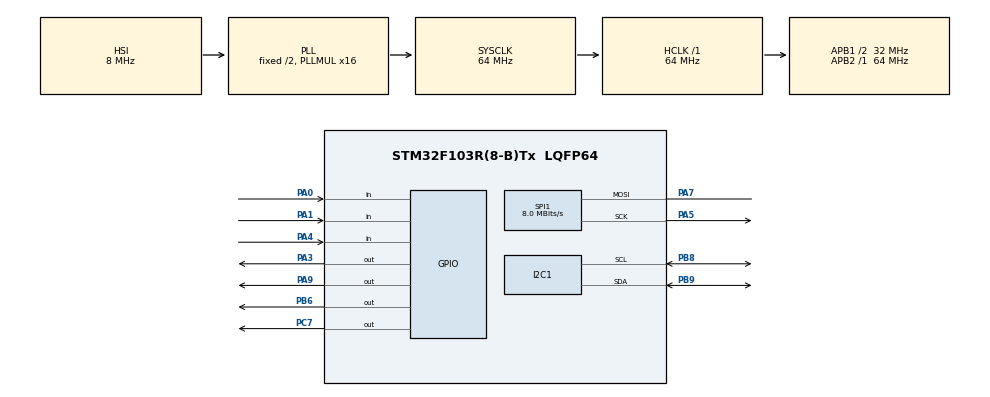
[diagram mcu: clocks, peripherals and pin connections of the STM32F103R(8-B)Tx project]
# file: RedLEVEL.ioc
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Mcu.Family=STM32F1
Mcu.Name=STM32F103R(8-B)Tx
Mcu.Package=LQFP64
NVIC.PriorityGroup=NVIC_PRIORITYGROUP_4
PA0-WKUP.Signal=GPIO_Input
PA1.Signal=GPIO_Input
PA13.Mode=Serial_Wire
PA13.Signal=SYS_JTMS-SWDIO
PA14.Mode=Serial_Wire
PA14.Signal=SYS_JTCK-SWCLK
PA3.Signal=GPIO_Output
PA4.Signal=GPIO_Input
PA5.Mode=Simplex_Bidirectional_Master
PA5.Signal=SPI1_SCK
PA7.Mode=Simplex_Bidirectional_Master
PA7.Signal=SPI1_MOSI
PA9.Signal=GPIO_Output
PB6.Signal=GPIO_Output
PB8.Mode=I2C
PB8.Signal=I2C1_SCL
PB9.Mode=I2C
PB9.Signal=I2C1_SDA
PC7.Signal=GPIO_Output
PD0-OSC_IN.Mode=HSE-External-Oscillator
PD0-OSC_IN.Signal=RCC_OSC_IN
PD1-OSC_OUT.Mode=HSE-External-Oscillator
PD1-OSC_OUT.Signal=RCC_OSC_OUT
ProjectManager.HeapSize=0x200
ProjectManager.StackSize=0x400
ProjectManager.TargetToolchain=STM32CubeIDE
RCC.AHBFreq_Value=64000000
RCC.APB1CLKDivider=RCC_HCLK_DIV2
RCC.APB1Freq_Value=32000000
RCC.APB1TimFreq_Value=64000000
RCC.APB2Freq_Value=64000000
RCC.APB2TimFreq_Value=64000000
RCC.HCLKFreq_Value=64000000
RCC.PLLMUL=RCC_PLL_MUL16
RCC.RTCClockSelection=RCC_RTCCLKSOURCE_LSE
RCC.SYSCLKFreq_VALUE=64000000
RCC.SYSCLKSource=RCC_SYSCLKSOURCE_PLLCLK
RCC.USBFreq_Value=64000000
SPI1.BaudRatePrescaler=SPI_BAUDRATEPRESCALER_8
SPI1.CalculateBaudRate=8.0 MBits/s
SPI1.Direction=SPI_DIRECTION_1LINE
SPI1.Mode=SPI_MODE_MASTER
SPI1.VirtualType=VM_MASTER
board=NUCLEO-F103RB

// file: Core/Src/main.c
/* USER CODE BEGIN Header */
/**
  ******************************************************************************
  * @file           : main.c
  * @brief          : Main program body
  ******************************************************************************
  * @attention
  *
  * Copyright (c) 2025 STMicroelectronics.
  * All rights reserved.
  *
  * This software is licensed under terms that can be found in the LICENSE file
  * in the root directory of this software component.
  * If no LICENSE file comes with this software, it is provided AS-IS.
  *
  ******************************************************************************
  */
/* USER CODE END Header */
#include "main.h"

/* USER CODE BEGIN Includes */
#include "ST7735.h"
#include "GFX_FUNCTIONS.h"
#include <stdio.h>
#include <math.h>

#ifndef M_PI
#define M_PI 3.14159265358979323846
#endif

/* USER CODE END Includes */

/* USER CODE BEGIN PTD */

// Struktur für die Winkel
typedef struct {
    float roll;
    float pitch;
} TiltAngles;

typedef enum {
    STATE_MENU,
    STATE_DISPLAY,
    STATE_LIMIT,
    STATE_CALIB
} SystemState;

typedef struct {
    GPIO_TypeDef* port;
    uint16_t pin;
    uint8_t pressed_last;
} Button_t;

SystemState currentState = STATE_MENU;
int menu_index = 0;
const char* menu_items[3] = {"Anzeige", "Grenzwert", "Kalibrierung"};

/* USER CODE END PTD */

/* USER CODE BEGIN PD */

// MPU6500 Adresse (AD0 = GND)
#define MPU6500_ADDR (0x68 << 1)

#define ACCEL_XOUT_H 0x3B
#define PWR_MGMT_1   0x6B

#define BTN_UP_PIN    GPIO_PIN_0
#define BTN_DOWN_PIN  GPIO_PIN_1
#define BTN_ENTER_PIN GPIO_PIN_4
#define LED_WARN GPIO_PIN_3
#define BTN_GPIO      GPIOA

#define Y_TITLE    0
#define Y_MODE     25
#define Y_ROLL     45
#define Y_LIMIT    60
#define Y_INFO     75
#define Y_WARN     90

#define Y_LINE 130       // vertikale Basislinie
#define LINE_WIDTH 20    // halbe Breite der Linie
#define LINE_THICKNESS 4   // Dicke der Linie

/* USER CODE END PD */

I2C_HandleTypeDef hi2c1;

SPI_HandleTypeDef hspi1;

void SystemClock_Config(void);
static void MX_GPIO_Init(void);
static void MX_SPI1_Init(void);
static void MX_I2C1_Init(void);

/* USER CODE BEGIN 0 */

//Change menu

int limit_value = 30;
int calibration_offset = 0;

int last_roll_reset_flag = 0; // globale Definition

static int last_x0 = 0, last_y0 = 0, last_x1 = 0, last_y1 = 0;

// --- Button lesen mit Entprellung ---
uint8_t readButton(GPIO_TypeDef* port, uint16_t pin)
{
    static uint32_t last_press_time[16] = {0};
    static uint8_t initialized = 0;
    if(!initialized)
    {
        for(int i=0;i<16;i++) last_press_time[i] = HAL_GetTick();
        initialized = 1;
    }

    uint8_t pin_num = 0;
    uint16_t temp_pin = pin;
    while(temp_pin > 1) { temp_pin >>= 1; pin_num++; }

    if(HAL_GPIO_ReadPin(port, pin) == GPIO_PIN_RESET) // gedrückt = LOW
    {
        if(HAL_GetTick() - last_press_time[pin_num] > 250)
        {
            last_press_time[pin_num] = HAL_GetTick();
            return 1;
        }
    }
    return 0;
}

// --- Button-Abfrage mit Entprellung ---
uint8_t buttonPressed(GPIO_TypeDef* port, uint16_t pin)
{
    static uint32_t last_press[16] = {0};
    static uint8_t initialized = 0;
    if(!initialized)
    {
        for(int i=0;i<16;i++) last_press[i]=HAL_GetTick();
        initialized=1;
    }

    uint8_t pin_index=0;
    uint16_t temp=pin;
    while(temp>1){ temp>>=1; pin_index++; }

    if(HAL_GPIO_ReadPin(port,pin)==GPIO_PIN_RESET)
    {
        if(HAL_GetTick()-last_press[pin_index]>200)
        {
            last_press[pin_index]=HAL_GetTick();
            return 1;
        }
    }
    return 0;
}

/* MPU Funktionen */

void MPU6500_Init(void)
{
    uint8_t data = 0x00;
    HAL_I2C_Mem_Write(&hi2c1, MPU6500_ADDR, PWR_MGMT_1, 1, &data, 1, HAL_MAX_DELAY);
}

void MPU6500_Read_Accel(int16_t *ax, int16_t *ay, int16_t *az)
{
    uint8_t rawData[6];
    HAL_I2C_Mem_Read(&hi2c1, MPU6500_ADDR, ACCEL_XOUT_H, 1, rawData, 6, HAL_MAX_DELAY);
    *ax = (int16_t)(rawData[0] << 8 | rawData[1]);
    *ay = (int16_t)(rawData[2] << 8 | rawData[3]);
    *az = (int16_t)(rawData[4] << 8 | rawData[5]);
}

float CalculateRoll(int16_t ax, int16_t ay, int16_t az)
{
    float ax_f = ax / 16384.0f;
    float ay_f = ay / 16384.0f;
    float az_f = az / 16384.0f;
    return atan2f(ay_f, sqrtf(ax_f*ax_f + az_f*az_f)) * 180.0f / M_PI;
}

// --- Menüanzeige ---
void displayMenu(int selected)
{
    fillRect(0,20,128,100,BLACK);
    for(int i=0;i<3;i++)
    {
        if(i==selected)
            ST7735_WriteString(10,30+i*20,menu_items[i],Font_7x10,WHITE,YELLOW);
        else
            ST7735_WriteString(10,30+i*20,menu_items[i],Font_7x10,YELLOW,BLACK);
    }
}

void UpdateDisplay(SystemState state)
{
    char buf[32];

    // kompletter Screen wird nur hier gelöscht (also beim State-Wechsel)
    fillScreen(BLACK);

    // Titel
    ST7735_WriteString(25, Y_TITLE, "RedLEVEL", Font_7x10, RED, BLACK);
    ST7735_WriteString(0, 15, "----------------------", Font_7x10, DARK_GRAY, BLACK);

    switch(state)
    {
        case STATE_MENU:
            ST7735_WriteString(0, 25, "Modus: Hauptmenue", Font_7x10, YELLOW, BLACK);
            displayMenu(menu_index);
            break;

        case STATE_DISPLAY:
            ST7735_WriteString(0, Y_MODE, "Modus: Anzeige", Font_7x10, YELLOW, BLACK);

            fillRect(0, Y_LIMIT, 110, 12, BLACK);
            snprintf(buf, sizeof(buf), "Grenze: %d", limit_value);
            ST7735_WriteString(0, Y_LIMIT, buf, Font_7x10, YELLOW, BLACK);

            ST7735_WriteString(0, Y_INFO, "Enter = Zurueck", Font_7x10, DARK_GRAY, BLACK);
            // Roll / Grenze / Warnung macht die while(1)-Schleife
            break;

        case STATE_LIMIT:
            ST7735_WriteString(0, 25, "Modus: Grenzwert", Font_7x10, YELLOW, BLACK);
            snprintf(buf, sizeof(buf), "Grenzwert: %d Grad", limit_value);
            ST7735_WriteString(0, 45, buf, Font_7x10, WHITE, BLACK);
            ST7735_WriteString(0, 65, "Up/Down = Wert", Font_7x10, WHITE, BLACK);
            ST7735_WriteString(0, 80, "Enter = Zurueck", Font_7x10, WHITE, BLACK);
            break;

        case STATE_CALIB:
            ST7735_WriteString(0, 25, "Modus: Kalibrieren", Font_7x10, YELLOW, BLACK);
            snprintf(buf, sizeof(buf), "Offset: %d Grad", calibration_offset);
            ST7735_WriteString(0, 45, buf, Font_7x10, WHITE, BLACK);
            ST7735_WriteString(0, 65, "Up/Down = Offset", Font_7x10, WHITE, BLACK);
            ST7735_WriteString(0, 80, "Enter = Zurueck", Font_7x10, WHITE, BLACK);
            break;
    }
}

void drawMenuItem(int index, uint8_t selected)
{
    uint16_t y = 30 + index * 20;

    if (selected)
        ST7735_WriteString(10, y, menu_items[index], Font_7x10, WHITE, YELLOW);
    else
        ST7735_WriteString(10, y, menu_items[index], Font_7x10, YELLOW, BLACK);
}

/* USER CODE END 0 */

int main(void)
{

  /* MCU Configuration--------------------------------------------------------*/

  /* Reset of all peripherals, Initializes the Flash interface and the Systick. */
  HAL_Init();

  /* Configure the system clock */
  SystemClock_Config();

  /* Initialize all configured peripherals */
  MX_GPIO_Init();
  MX_SPI1_Init();
  MX_I2C1_Init();
  /* USER CODE BEGIN 2 */

  // GPIO für Taster, interne Pull-ups aktiviert (Taster gegen GND)
     __HAL_RCC_GPIOA_CLK_ENABLE();
     GPIO_InitTypeDef GPIO_InitStruct = {0};
     GPIO_InitStruct.Pin = BTN_UP_PIN | BTN_DOWN_PIN | BTN_ENTER_PIN;
     GPIO_InitStruct.Mode = GPIO_MODE_INPUT;
     GPIO_InitStruct.Pull = GPIO_PULLUP;
     HAL_GPIO_Init(BTN_GPIO, &GPIO_InitStruct);

     ST7735_Init(0);
       fillScreen(BLACK);
       MPU6500_Init();
       UpdateDisplay(currentState);

  /* USER CODE END 2 */

  /* Infinite loop */
  /* USER CODE BEGIN WHILE */
  while (1)
  {

	  uint8_t up = buttonPressed(BTN_GPIO, BTN_UP_PIN);
	        uint8_t down = buttonPressed(BTN_GPIO, BTN_DOWN_PIN);
	        uint8_t enter = buttonPressed(BTN_GPIO, BTN_ENTER_PIN);

	        switch(currentState)
	        {
	            case STATE_MENU:

	            	static int last_menu_index = 0;

	            	    if (up)
	            	    {
	            	        last_menu_index = menu_index;
	            	        menu_index = (menu_index == 0) ? 2 : menu_index - 1;

	            	        drawMenuItem(last_menu_index, 0);  // alt normal
	            	        drawMenuItem(menu_index, 1);       // neu markiert
	            	    }

	            	    if (down)
	            	    {
	            	        last_menu_index = menu_index;
	            	        menu_index = (menu_index == 2) ? 0 : menu_index + 1;

	            	        drawMenuItem(last_menu_index, 0);
	            	        drawMenuItem(menu_index, 1);
	            	    }
	                if(enter)
	                {
	                    if(menu_index == 0)
	                    {
	                        currentState = STATE_DISPLAY;

	                        // Werte für Anzeige-Modus zurücksetzen
	                        extern int last_roll_reset_flag; // (Deklaration folgt unten)
	                        last_roll_reset_flag = 1;
	                    }
	                    if(menu_index == 1) currentState = STATE_LIMIT;
	                    if(menu_index == 2) currentState = STATE_CALIB;

	                    UpdateDisplay(currentState);
	                }
	                break;

	            case STATE_DISPLAY:
	                        {
	                            // alte Werte merken, damit wir nicht dauernd neu zeichnen
	                            static int last_roll = 9999;
	                            static uint8_t over_limit = 0;

	                            int16_t ax, ay, az;
	                            MPU6500_Read_Accel(&ax, &ay, &az);

	                            int roll_int = (int)(atan2((int32_t)ay,
	                                               sqrt((int32_t)ax*ax + (int32_t)az*az)) * 180 / M_PI);
	                            roll_int += calibration_offset;

	                            char buf[32];

	                            // --- Roll nur neu zeichnen, wenn sich der Wert geändert hat ---
	                            if (roll_int != last_roll)
	                            {
	                                // nur die Zeile löschen, nicht den ganzen Screen
	                                fillRect(0, Y_ROLL, 110, 12, BLACK);
	                                snprintf(buf, sizeof(buf), "Roll: %d Grad", roll_int);
	                                ST7735_WriteString(0, Y_ROLL, buf, Font_7x10, WHITE, BLACK);
	                                last_roll = roll_int;
	                            }

	                            // --- Warnung nur bei Zustandswechsel ---
	                            if (roll_int > limit_value)
	                            {
	                                if (!over_limit)
	                                {
	                                    fillRect(0, Y_WARN, 128, 14, BLACK);
	                                    ST7735_WriteString(0, Y_WARN, "! UEBER GRENZE !", Font_7x10, RED, BLACK);

	                                    HAL_GPIO_WritePin(BTN_GPIO, LED_WARN, GPIO_PIN_SET);

	                                    over_limit = 1;
	                                }
	                            }
	                            else
	                            {
	                                if (over_limit)
	                                {
	                                    fillRect(0, Y_WARN, 128, 14, BLACK);
	                                    HAL_GPIO_WritePin(BTN_GPIO, LED_WARN, GPIO_PIN_RESET);
	                                    over_limit = 0;
	                                }
	                            }

	                            // zurück ins Menü
	                            if (enter)
	                            {
	                                currentState = STATE_MENU;
	                                UpdateDisplay(currentState);
	                            }

	                            // Rollwert als Winkel in Grad
	                            float angle = roll_int;  // roll_int aus deinem Code

	                            // Linie berechnen (Mitte unten, Linie +/- LINE_WIDTH je nach Winkel)
	                            float rad = angle * M_PI / 180.0f;
	                            int x0 = 64 - (int)(LINE_WIDTH * cos(rad));
	                            int y0 = Y_LINE - (int)(LINE_WIDTH * sin(rad));
	                            int x1 = 64 + (int)(LINE_WIDTH * cos(rad));
	                            int y1 = Y_LINE + (int)(LINE_WIDTH * sin(rad));

	                            // Nur neu zeichnen, wenn sich die Linie tatsächlich verändert hat
	                            if(x0 != last_x0 || y0 != last_y0 || x1 != last_x1 || y1 != last_y1)
	                            {
	                                // alte Linie löschen
	                                if(last_x0 || last_x1)
	                                    for(int i=0; i<LINE_THICKNESS; i++)
	                                        drawLine(last_x0, last_y0+i, last_x1, last_y1+i, BLACK);

	                                // neue Linie zeichnen
	                                for(int i=0; i<LINE_THICKNESS; i++)
	                                    drawLine(x0, y0+i, x1, y1+i, WHITE);

	                                // Werte merken
	                                last_x0 = x0;
	                                last_y0 = y0;
	                                last_x1 = x1;
	                                last_y1 = y1;
	                            }

	                            break;
	                        }

	            case STATE_LIMIT:
	            {
	                static int last_limit_value = -9999;  // merken, um unnötige Updates zu vermeiden

	                if (up)  limit_value++;
	                if (down) limit_value--;

	                // Nur aktualisieren, wenn sich der Wert geändert hat
	                if (limit_value != last_limit_value)
	                {
	                    char buf[32];
	                    // Nur den Bereich löschen, wo der Wert steht
	                    fillRect(0, 45, 120, 12, BLACK);
	                    snprintf(buf, sizeof(buf), "Grenzwert: %d Grad", limit_value);
	                    ST7735_WriteString(0, 45, buf, Font_7x10, WHITE, BLACK);
	                    last_limit_value = limit_value;
	                }

	                if (enter)
	                {
	                    currentState = STATE_MENU;
	                    UpdateDisplay(currentState);
	                }
	                break;
	            }

	            case STATE_CALIB:
	            {
	                static int last_calibration_offset = -9999; // merken, um unnötige Updates zu vermeiden

	                if (up)  calibration_offset++;
	                if (down) calibration_offset--;

	                // Nur aktualisieren, wenn sich der Wert geändert hat
	                if (calibration_offset != last_calibration_offset)
	                {
	                    char buf[32];
	                    // Nur den Bereich löschen, wo der Wert steht
	                    fillRect(0, 45, 120, 12, BLACK);
	                    snprintf(buf, sizeof(buf), "Offset: %d Grad", calibration_offset);
	                    ST7735_WriteString(0, 45, buf, Font_7x10, WHITE, BLACK);
	                    last_calibration_offset = calibration_offset;
	                }

	                if (enter)
	                {
	                    currentState = STATE_MENU;
	                    UpdateDisplay(currentState);
	                }

	                break;
	            }

	        }

	        HAL_Delay(100);

    /* USER CODE END WHILE */

  }
}

void SystemClock_Config(void)
{
  RCC_OscInitTypeDef RCC_OscInitStruct = {0};
  RCC_ClkInitTypeDef RCC_ClkInitStruct = {0};

  /** Initializes the RCC Oscillators according to the specified parameters
  * in the RCC_OscInitTypeDef structure.
  */
  RCC_OscInitStruct.OscillatorType = RCC_OSCILLATORTYPE_HSI;
  RCC_OscInitStruct.HSIState = RCC_HSI_ON;
  RCC_OscInitStruct.HSICalibrationValue = RCC_HSICALIBRATION_DEFAULT;
  RCC_OscInitStruct.PLL.PLLState = RCC_PLL_ON;
  RCC_OscInitStruct.PLL.PLLSource = RCC_PLLSOURCE_HSI_DIV2;
  RCC_OscInitStruct.PLL.PLLMUL = RCC_PLL_MUL16;
  if (HAL_RCC_OscConfig(&RCC_OscInitStruct) != HAL_OK)
  {
    Error_Handler();
  }

  /** Initializes the CPU, AHB and APB buses clocks
  */
  RCC_ClkInitStruct.ClockType = RCC_CLOCKTYPE_HCLK|RCC_CLOCKTYPE_SYSCLK
                              |RCC_CLOCKTYPE_PCLK1|RCC_CLOCKTYPE_PCLK2;
  RCC_ClkInitStruct.SYSCLKSource = RCC_SYSCLKSOURCE_PLLCLK;
  RCC_ClkInitStruct.AHBCLKDivider = RCC_SYSCLK_DIV1;
  RCC_ClkInitStruct.APB1CLKDivider = RCC_HCLK_DIV2;
  RCC_ClkInitStruct.APB2CLKDivider = RCC_HCLK_DIV1;

  if (HAL_RCC_ClockConfig(&RCC_ClkInitStruct, FLASH_LATENCY_2) != HAL_OK)
  {
    Error_Handler();
  }
}

static void MX_I2C1_Init(void)
{

  hi2c1.Instance = I2C1;
  hi2c1.Init.ClockSpeed = 100000;
  hi2c1.Init.DutyCycle = I2C_DUTYCYCLE_2;
  hi2c1.Init.OwnAddress1 = 0;
  hi2c1.Init.AddressingMode = I2C_ADDRESSINGMODE_7BIT;
  hi2c1.Init.DualAddressMode = I2C_DUALADDRESS_DISABLE;
  hi2c1.Init.OwnAddress2 = 0;
  hi2c1.Init.GeneralCallMode = I2C_GENERALCALL_DISABLE;
  hi2c1.Init.NoStretchMode = I2C_NOSTRETCH_DISABLE;
  if (HAL_I2C_Init(&hi2c1) != HAL_OK)
  {
    Error_Handler();
  }

}

static void MX_SPI1_Init(void)
{

  /* SPI1 parameter configuration*/
  hspi1.Instance = SPI1;
  hspi1.Init.Mode = SPI_MODE_MASTER;
  hspi1.Init.Direction = SPI_DIRECTION_1LINE;
  hspi1.Init.DataSize = SPI_DATASIZE_8BIT;
  hspi1.Init.CLKPolarity = SPI_POLARITY_LOW;
  hspi1.Init.CLKPhase = SPI_PHASE_1EDGE;
  hspi1.Init.NSS = SPI_NSS_SOFT;
  hspi1.Init.BaudRatePrescaler = SPI_BAUDRATEPRESCALER_8;
  hspi1.Init.FirstBit = SPI_FIRSTBIT_MSB;
  hspi1.Init.TIMode = SPI_TIMODE_DISABLE;
  hspi1.Init.CRCCalculation = SPI_CRCCALCULATION_DISABLE;
  hspi1.Init.CRCPolynomial = 10;
  if (HAL_SPI_Init(&hspi1) != HAL_OK)
  {
    Error_Handler();
  }

}

static void MX_GPIO_Init(void)
{
  GPIO_InitTypeDef GPIO_InitStruct = {0};

  /* GPIO Ports Clock Enable */
  __HAL_RCC_GPIOD_CLK_ENABLE();
  __HAL_RCC_GPIOA_CLK_ENABLE();
  __HAL_RCC_GPIOC_CLK_ENABLE();
  __HAL_RCC_GPIOB_CLK_ENABLE();

  /*Configure GPIO pin Output Level */
  HAL_GPIO_WritePin(GPIOA, GPIO_PIN_3|GPIO_PIN_9, GPIO_PIN_RESET);

  /*Configure GPIO pin Output Level */
  HAL_GPIO_WritePin(GPIOC, GPIO_PIN_7, GPIO_PIN_RESET);

  /*Configure GPIO pin Output Level */
  HAL_GPIO_WritePin(GPIOB, GPIO_PIN_6, GPIO_PIN_RESET);

  /*Configure GPIO pins : PA0 PA1 PA4 */
  GPIO_InitStruct.Pin = GPIO_PIN_0|GPIO_PIN_1|GPIO_PIN_4;
  GPIO_InitStruct.Mode = GPIO_MODE_INPUT;
  GPIO_InitStruct.Pull = GPIO_NOPULL;
  HAL_GPIO_Init(GPIOA, &GPIO_InitStruct);

  /*Configure GPIO pins : PA3 PA9 */
  GPIO_InitStruct.Pin = GPIO_PIN_3|GPIO_PIN_9;
  GPIO_InitStruct.Mode = GPIO_MODE_OUTPUT_PP;
  GPIO_InitStruct.Pull = GPIO_NOPULL;
  GPIO_InitStruct.Speed = GPIO_SPEED_FREQ_LOW;
  HAL_GPIO_Init(GPIOA, &GPIO_InitStruct);

  /*Configure GPIO pin : PC7 */
  GPIO_InitStruct.Pin = GPIO_PIN_7;
  GPIO_InitStruct.Mode = GPIO_MODE_OUTPUT_PP;
  GPIO_InitStruct.Pull = GPIO_NOPULL;
  GPIO_InitStruct.Speed = GPIO_SPEED_FREQ_LOW;
  HAL_GPIO_Init(GPIOC, &GPIO_InitStruct);

  /*Configure GPIO pin : PB6 */
  GPIO_InitStruct.Pin = GPIO_PIN_6;
  GPIO_InitStruct.Mode = GPIO_MODE_OUTPUT_PP;
  GPIO_InitStruct.Pull = GPIO_NOPULL;
  GPIO_InitStruct.Speed = GPIO_SPEED_FREQ_LOW;
  HAL_GPIO_Init(GPIOB, &GPIO_InitStruct);

}

void Error_Handler(void)
{
  __disable_irq();
  while (1)
  {
  }
}
